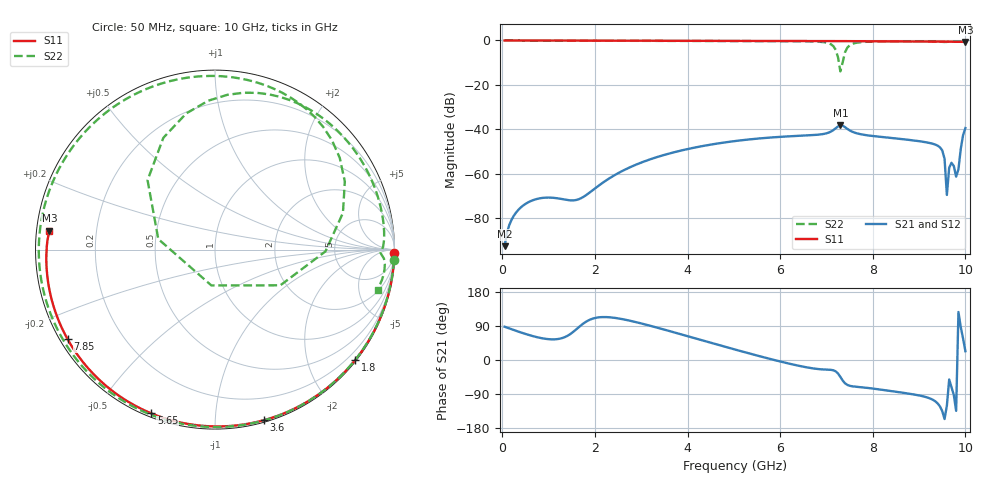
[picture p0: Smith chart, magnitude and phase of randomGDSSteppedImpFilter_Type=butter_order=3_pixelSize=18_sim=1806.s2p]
! freq	dB(S11)	phase(S11)	dB(S12)	phase(S12)
!  dB(S21)	phase(S21)	dB(S22)	phase(S22)
!S-par simulation data
#  GHz  S  DB  R 50
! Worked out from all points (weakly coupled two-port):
!   200 points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, 50 MHz to 10 GHz, reference 50 ohm
!   highest |S21| = -38.23 dB at 7.3 GHz (marker M1); lowest = -92.7 dB at 50 MHz (marker M2)
!   lowest |S11| = -0.6 dB at 10 GHz (marker M3), VSWR 27.15, Z = 1.85 + j2.84 ohm
!   |S11| at or under -10 dB: nowhere
!   |S22| runs from -13.9 to 0.0 dB; largest |S21 - S12| = 0
!   S11 on the Smith chart (normalised r, x): 50 MHz: open; 1.8 GHz: 0.03, -2.88; 3.6 GHz: 0.02, -1.32; 5.65 GHz: 0.02, -0.68; 7.85 GHz: 0.02, -0.28; 10 GHz: 0.04, +0.06
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0.05  -0.00 -1.1  -92.67 87.8  -92.67 87.8  -0.00 -3.4
0.9  -0.03 -19.4  -70.86 56.5  -70.86 56.5  -0.07 -58.8
1.75  -0.05 -37.3  -70.49 96.2  -70.49 96.2  -0.11 -105.4
1.8  -0.05 -38.3  -69.81 100.4  -69.81 100.4  -0.11 -107.9
3.4  -0.09 -70.3  -52.16 83.5  -52.16 83.5  -0.15 -173.5
3.6  -0.10 -74.1  -50.96 76.7  -50.96 76.7  -0.16 179.4
5.05  -0.15 -100.7  -45.25 26.8  -45.25 26.8  -0.21 130.5
5.65  -0.18 -111.3  -43.96 7.0  -43.96 7.0  -0.24 110.1
6.7  -0.25 -129.2  -42.65 -21.9  -42.65 -21.9  -0.44 66.8
7  -0.27 -134.3  -41.82 -25.3  -41.82 -25.3  -0.99 43.0
7.15  -0.28 -136.8  -40.37 -27.2  -40.37 -27.2  -2.60 16.0
7.3  -0.30 -139.4  -38.23 -44.6  -38.23 -44.6  -13.95 -95.7
7.4  -0.30 -141.0  -39.05 -61.4  -39.05 -61.4  -5.37 134.2
7.5  -0.31 -142.7  -40.50 -68.0  -40.50 -68.0  -2.21 101.9
7.85  -0.34 -148.6  -42.64 -73.1  -42.64 -73.1  -0.62 63.8
8.35  -0.39 -157.2  -43.81 -81.2  -43.81 -81.2  -0.42 39.7
9.45  -0.52 -176.5  -48.11 -122.3  -48.11 -122.3  -0.56 1.3
9.55  -0.54 -178.4  -53.29 -155.8  -53.29 -155.8  -0.70 -1.1
9.6  -0.55 -179.3  -69.58 -120.6  -69.58 -120.6  -0.66 -1.7
9.65  -0.56 179.8  -57.32 -51.4  -57.32 -51.4  -0.51 -3.0
9.8  -0.58 177.0  -61.36 -134.2  -61.36 -134.2  -0.45 -8.6
10  -0.64 173.5  -39.44 23.3  -39.44 23.3  -0.60 -13.8
